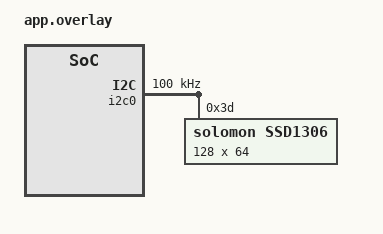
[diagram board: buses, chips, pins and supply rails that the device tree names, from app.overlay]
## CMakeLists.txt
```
cmake_minimum_required(VERSION 3.20.0)
find_package(Zephyr REQUIRED HINTS $ENV{ZEPHYR_BASE})
project(ssd1306_i2c0_lab)
target_sources(app PRIVATE src/main.c)
```

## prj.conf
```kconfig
CONFIG_I2C=y
CONFIG_DISPLAY=y
CONFIG_SSD1306=y
CONFIG_LOG=y
```

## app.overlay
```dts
/*
 * SSD1306 OLED over I2C0 (J25 pin 3=SCL, pin 4=SDA) on SR110 RDK.
 *
 * CONFIRMED (real hardware, sr100_pinctrl.dtsi grep):
 *   i2c0_ms_scl-labeled node "i2c0-ms-scl"
 *   i2c0_ms_sda-labeled node "i2c0-ms-sda"
 * -- no "_b"/"_c" suffix on I2C0, unlike I2C1's i2c1_ms_scl_b/i2c1_ms_sda_b.
 *
 * &i2c0 itself is NOT enabled in the stock sr100_rdk_m55.dts/m4.dts
 * (only &i2c1 is used there) -- this overlay is what turns it on.
 */
&i2c0 {
	status = "okay";
	pinctrl-names = "default";
	pinctrl-0 = <&i2c0_ms_scl &i2c0_ms_sda>;
	clock-frequency = <I2C_BITRATE_STANDARD>;

	ssd1306: ssd1306@3d {
		compatible = "solomon,ssd1306";  /* NOT "ssd1306fb" -- confirmed on real hardware, Zephyr v4.4.1 */
		reg = <0x3d>;              /* TODO/VERIFY: some modules use 0x3c instead */
		width = <128>;
		height = <64>;
		segment-offset = <0>;
		page-offset = <0>;
		display-offset = <0>;
		multiplex-ratio = <63>;
		segment-remap;
		com-invdir;
		prechargep = <0x22>;
	};
};
```

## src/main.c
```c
/*
 * SSD1306 OLED bring-up lab — I2C0 (J25 pin 3/4), SR110 RDK.
 *
 * Draws a full white rectangle first (proves the panel + I2C link work at
 * all), then a slowly moving vertical bar (proves display_write() and
 * addressing/pitch are correct, not just a static full-screen fill).
 *
 * CONFIRMED: Zephyr's standard display subsystem + the official
 * solomon,ssd1306fb driver are used as-is — no custom register-level code
 * needed for this chip.
 *
 * TODO/VERIFY: I2C0 pinctrl node names in app.overlay (see comment there).
 */
#include <zephyr/kernel.h>
#include <zephyr/drivers/display.h>
#include <zephyr/logging/log.h>
#include <string.h>

LOG_MODULE_REGISTER(ssd1306_lab, LOG_LEVEL_INF);

#define DISPLAY_WIDTH   128
#define DISPLAY_HEIGHT  64
#define BAR_WIDTH       8

static uint8_t framebuf[DISPLAY_WIDTH * DISPLAY_HEIGHT / 8];

static void fill_screen(uint8_t pattern)
{
	memset(framebuf, pattern, sizeof(framebuf));
}

/* Very small monochrome vertical-bar "animation" to prove addressing works,
 * not just a static full-screen fill. SSD1306 is page-addressed: each byte
 * covers 8 vertical pixels in one column. */
static void draw_vbar(int x)
{
	memset(framebuf, 0x00, sizeof(framebuf));
	for (int page = 0; page < DISPLAY_HEIGHT / 8; page++) {
		for (int col = x; col < x + BAR_WIDTH && col < DISPLAY_WIDTH; col++) {
			framebuf[page * DISPLAY_WIDTH + col] = 0xFF;
		}
	}
}

int main(void)
{
	const struct device *display_dev = DEVICE_DT_GET_ANY(solomon_ssd1306)   /* NOT solomon_ssd1306fb -- confirmed on real hardware, Zephyr v4.4.1 */;
	struct display_capabilities caps;
	struct display_buffer_descriptor desc = {
		.buf_size = sizeof(framebuf),
		.width = DISPLAY_WIDTH,
		.height = DISPLAY_HEIGHT,
		.pitch = DISPLAY_WIDTH,
	};

	LOG_INF("SSD1306 I2C0 lab starting");

	if (!device_is_ready(display_dev)) {
		LOG_ERR("Display device not ready -- check I2C0 pinctrl/wiring/address (0x3c vs 0x3d)");
		return -1;
	}

	display_get_capabilities(display_dev, &caps);
	LOG_INF("Display ready: %dx%d", caps.x_resolution, caps.y_resolution);

	/* Step 1: full white screen -- proves the panel responds at all. */
	fill_screen(0xFF);
	display_write(display_dev, 0, 0, &desc, framebuf);
	display_blanking_off(display_dev);
	LOG_INF("Step 1: full white screen -- check the panel is lit solid white");
	k_msleep(2000);

	/* Step 2: full black screen -- proves we can also clear it. */
	fill_screen(0x00);
	display_write(display_dev, 0, 0, &desc, framebuf);
	LOG_INF("Step 2: full black screen -- check the panel is fully dark");
	k_msleep(2000);

	/* Step 3: a vertical bar sweeping left to right -- proves addressing
	 * and pitch are correct, not just a lucky full-screen fill. */
	LOG_INF("Step 3: sweeping vertical bar -- watch it move left to right");
	int x = 0;
	int dir = 1;

	while (1) {
		draw_vbar(x);
		display_write(display_dev, 0, 0, &desc, framebuf);

		x += dir * 4;
		if (x >= DISPLAY_WIDTH - BAR_WIDTH || x <= 0) {
			dir = -dir;
		}
		k_msleep(80);
	}

	return 0;
}
```
